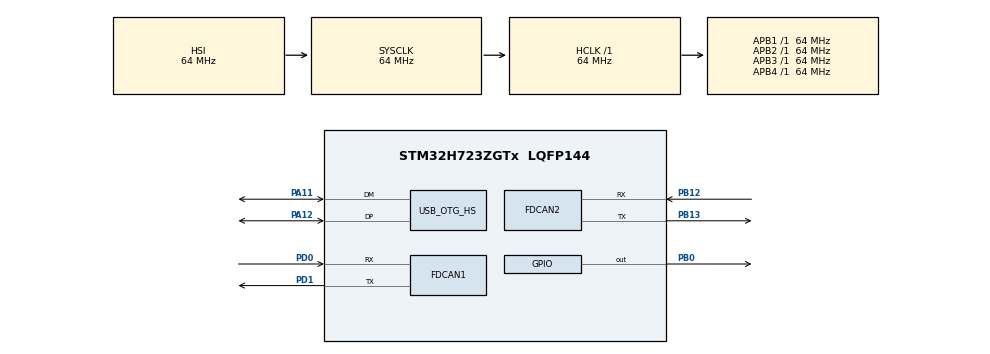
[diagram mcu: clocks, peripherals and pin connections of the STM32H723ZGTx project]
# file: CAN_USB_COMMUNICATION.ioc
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CORTEX_M7.default_mode_Activation=1
FDCAN1.AutoRetransmission=ENABLE
FDCAN1.CalculateBaudRateNominal=1000000
FDCAN1.CalculateTimeBitNominal=1000
FDCAN1.CalculateTimeQuantumNominal=333.3333333333333
FDCAN1.FrameFormat=FDCAN_FRAME_FD_NO_BRS
FDCAN1.Mode=FDCAN_MODE_INTERNAL_LOOPBACK
FDCAN1.RxFifo0ElmtsNbr=1
FDCAN1.TxBuffersNbr=2
FDCAN1.TxFifoQueueElmtsNbr=4
FDCAN2.CalculateBaudRateNominal=1000000
FDCAN2.CalculateTimeBitNominal=1000
FDCAN2.CalculateTimeQuantumNominal=333.3333333333333
FDCAN2.FrameFormat=FDCAN_FRAME_FD_NO_BRS
Mcu.Family=STM32H7
Mcu.Name=STM32H723ZGTx
Mcu.Package=LQFP144
NVIC.OTG_HS_IRQn=true\:0\:0\:false\:false\:true\:false\:true\:true
NVIC.PriorityGroup=NVIC_PRIORITYGROUP_4
PA11.Mode=Device_Only_FS
PA11.Signal=USB_OTG_HS_DM
PA12.Mode=Device_Only_FS
PA12.Signal=USB_OTG_HS_DP
PB0.Signal=GPIO_Output
PB12.Mode=FDCAN_Activate
PB12.Signal=FDCAN2_RX
PB13.Mode=FDCAN_Activate
PB13.Signal=FDCAN2_TX
PD0.Mode=FDCAN_Activate
PD0.Signal=FDCAN1_RX
PD1.Mode=FDCAN_Activate
PD1.Signal=FDCAN1_TX
PH0-OSC_IN.Mode=HSE-External-Oscillator
PH0-OSC_IN.Signal=RCC_OSC_IN
PH1-OSC_OUT.Mode=HSE-External-Oscillator
PH1-OSC_OUT.Signal=RCC_OSC_OUT
ProjectManager.HeapSize=0x200
ProjectManager.StackSize=0x400
ProjectManager.TargetToolchain=STM32CubeIDE
RCC.ADCFreq_Value=50390625
RCC.APB1Freq_Value=64000000
RCC.APB2Freq_Value=64000000
RCC.APB3Freq_Value=64000000
RCC.APB4Freq_Value=64000000
RCC.CortexFreq_Value=64000000
RCC.DIVM1=5
RCC.DIVN1=48
RCC.DIVQ1=5
RCC.HCLKFreq_Value=64000000
RCC.HSE_VALUE=25000000
RCC.PLL2FRACN=0
RCC.PLL3FRACN=0
RCC.PLLFRACN=0
RCC.SYSCLKFreq_VALUE=64000000
RCC.USBFreq_Value=48000000
USB_DEVICE.CLASS_NAME_HS=CDC
USB_DEVICE.PRODUCT_STRING_CDC_HS=CANbeat
USB_DEVICE.VirtualMode=Cdc
USB_DEVICE.VirtualModeHS=Cdc_HS
USB_OTG_HS.VirtualMode-Device_Only_FS=Device_Only_FS
VP_MEMORYMAP_VS_MEMORYMAP.Mode=CurAppReg
VP_USB_DEVICE_VS_USB_DEVICE_CDC_HS.Mode=CDC_HS
board=custom

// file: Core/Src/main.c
/* USER CODE BEGIN Header */
/**
  ******************************************************************************
  * @file           : main.c
  * @brief          : Main program body
  ******************************************************************************
  * @attention
  *
  * Copyright (c) 2025 STMicroelectronics.
  * All rights reserved.
  *
  * This software is licensed under terms that can be found in the LICENSE file
  * in the root directory of this software component.
  * If no LICENSE file comes with this software, it is provided AS-IS.
  *
  ******************************************************************************
  */
/* USER CODE END Header */
#include "main.h"
#include "usb_device.h"

/* USER CODE BEGIN Includes */
#include "usbd_cdc_if.h"
/* USER CODE END Includes */

FDCAN_HandleTypeDef hfdcan1;
FDCAN_HandleTypeDef hfdcan2;

void SystemClock_Config(void);
static void MPU_Config(void);
static void MX_GPIO_Init(void);
static void MX_FDCAN1_Init(void);
static void MX_FDCAN2_Init(void);
/* USER CODE BEGIN PFP */
void Send_CANFD_Message(void);
/* USER CODE END PFP */

int main(void)
{

  /* MPU Configuration--------------------------------------------------------*/
  MPU_Config();

  /* MCU Configuration--------------------------------------------------------*/

  /* Reset of all peripherals, Initializes the Flash interface and the Systick. */
  HAL_Init();

  /* Configure the system clock */
  SystemClock_Config();

  /* Initialize all configured peripherals */
  MX_GPIO_Init();
  MX_FDCAN1_Init();
  MX_FDCAN2_Init();
  MX_USB_DEVICE_Init();

  /* Infinite loop */
  /* USER CODE BEGIN WHILE */
  uint8_t msg[] = "Hello from STM32H723ZG via USB CDC!\r\n";
  while (1)
  {
	  CDC_Transmit_HS(msg, sizeof(msg)-1);
	  HAL_GPIO_TogglePin(GPIOB, GPIO_PIN_0);
	  HAL_Delay(500);  // 500 ms delay
	  Send_CANFD_Message();
    /* USER CODE END WHILE */

  }
}

void SystemClock_Config(void)
{
  RCC_OscInitTypeDef RCC_OscInitStruct = {0};
  RCC_ClkInitTypeDef RCC_ClkInitStruct = {0};

  /** Supply configuration update enable
  */
  HAL_PWREx_ConfigSupply(PWR_LDO_SUPPLY);

  /** Configure the main internal regulator output voltage
  */
  __HAL_PWR_VOLTAGESCALING_CONFIG(PWR_REGULATOR_VOLTAGE_SCALE3);

  while(!__HAL_PWR_GET_FLAG(PWR_FLAG_VOSRDY)) {}

  /** Initializes the RCC Oscillators according to the specified parameters
  * in the RCC_OscInitTypeDef structure.
  */
  RCC_OscInitStruct.OscillatorType = RCC_OSCILLATORTYPE_HSI|RCC_OSCILLATORTYPE_HSE;
  RCC_OscInitStruct.HSEState = RCC_HSE_ON;
  RCC_OscInitStruct.HSIState = RCC_HSI_DIV1;
  RCC_OscInitStruct.HSICalibrationValue = 64;
  RCC_OscInitStruct.PLL.PLLState = RCC_PLL_ON;
  RCC_OscInitStruct.PLL.PLLSource = RCC_PLLSOURCE_HSE;
  RCC_OscInitStruct.PLL.PLLM = 5;
  RCC_OscInitStruct.PLL.PLLN = 48;
  RCC_OscInitStruct.PLL.PLLP = 2;
  RCC_OscInitStruct.PLL.PLLQ = 5;
  RCC_OscInitStruct.PLL.PLLR = 2;
  RCC_OscInitStruct.PLL.PLLRGE = RCC_PLL1VCIRANGE_2;
  RCC_OscInitStruct.PLL.PLLVCOSEL = RCC_PLL1VCOWIDE;
  RCC_OscInitStruct.PLL.PLLFRACN = 0;
  if (HAL_RCC_OscConfig(&RCC_OscInitStruct) != HAL_OK)
  {
    Error_Handler();
  }

  /** Initializes the CPU, AHB and APB buses clocks
  */
  RCC_ClkInitStruct.ClockType = RCC_CLOCKTYPE_HCLK|RCC_CLOCKTYPE_SYSCLK
                              |RCC_CLOCKTYPE_PCLK1|RCC_CLOCKTYPE_PCLK2
                              |RCC_CLOCKTYPE_D3PCLK1|RCC_CLOCKTYPE_D1PCLK1;
  RCC_ClkInitStruct.SYSCLKSource = RCC_SYSCLKSOURCE_HSI;
  RCC_ClkInitStruct.SYSCLKDivider = RCC_SYSCLK_DIV1;
  RCC_ClkInitStruct.AHBCLKDivider = RCC_HCLK_DIV1;
  RCC_ClkInitStruct.APB3CLKDivider = RCC_APB3_DIV1;
  RCC_ClkInitStruct.APB1CLKDivider = RCC_APB1_DIV1;
  RCC_ClkInitStruct.APB2CLKDivider = RCC_APB2_DIV1;
  RCC_ClkInitStruct.APB4CLKDivider = RCC_APB4_DIV1;

  if (HAL_RCC_ClockConfig(&RCC_ClkInitStruct, FLASH_LATENCY_1) != HAL_OK)
  {
    Error_Handler();
  }
}

static void MX_FDCAN1_Init(void)
{

  hfdcan1.Instance = FDCAN1;
  hfdcan1.Init.FrameFormat = FDCAN_FRAME_FD_NO_BRS;
  hfdcan1.Init.Mode = FDCAN_MODE_INTERNAL_LOOPBACK;
  hfdcan1.Init.AutoRetransmission = ENABLE;
  hfdcan1.Init.TransmitPause = DISABLE;
  hfdcan1.Init.ProtocolException = DISABLE;
  hfdcan1.Init.NominalPrescaler = 16;
  hfdcan1.Init.NominalSyncJumpWidth = 1;
  hfdcan1.Init.NominalTimeSeg1 = 1;
  hfdcan1.Init.NominalTimeSeg2 = 1;
  hfdcan1.Init.DataPrescaler = 1;
  hfdcan1.Init.DataSyncJumpWidth = 1;
  hfdcan1.Init.DataTimeSeg1 = 1;
  hfdcan1.Init.DataTimeSeg2 = 1;
  hfdcan1.Init.MessageRAMOffset = 0;
  hfdcan1.Init.StdFiltersNbr = 0;
  hfdcan1.Init.ExtFiltersNbr = 0;
  hfdcan1.Init.RxFifo0ElmtsNbr = 1;
  hfdcan1.Init.RxFifo0ElmtSize = FDCAN_DATA_BYTES_8;
  hfdcan1.Init.RxFifo1ElmtsNbr = 0;
  hfdcan1.Init.RxFifo1ElmtSize = FDCAN_DATA_BYTES_8;
  hfdcan1.Init.RxBuffersNbr = 0;
  hfdcan1.Init.RxBufferSize = FDCAN_DATA_BYTES_8;
  hfdcan1.Init.TxEventsNbr = 0;
  hfdcan1.Init.TxBuffersNbr = 2;
  hfdcan1.Init.TxFifoQueueElmtsNbr = 4;
  hfdcan1.Init.TxFifoQueueMode = FDCAN_TX_FIFO_OPERATION;
  hfdcan1.Init.TxElmtSize = FDCAN_DATA_BYTES_8;
  if (HAL_FDCAN_Init(&hfdcan1) != HAL_OK)
  {
    Error_Handler();
  }
  /* USER CODE BEGIN FDCAN1_Init 2 */
  if (HAL_FDCAN_Start(&hfdcan1)    != HAL_OK) { Error_Handler(); }
  /* USER CODE END FDCAN1_Init 2 */

}

static void MX_FDCAN2_Init(void)
{

  hfdcan2.Instance = FDCAN2;
  hfdcan2.Init.FrameFormat = FDCAN_FRAME_FD_NO_BRS;
  hfdcan2.Init.Mode = FDCAN_MODE_NORMAL;
  hfdcan2.Init.AutoRetransmission = DISABLE;
  hfdcan2.Init.TransmitPause = DISABLE;
  hfdcan2.Init.ProtocolException = DISABLE;
  hfdcan2.Init.NominalPrescaler = 16;
  hfdcan2.Init.NominalSyncJumpWidth = 1;
  hfdcan2.Init.NominalTimeSeg1 = 1;
  hfdcan2.Init.NominalTimeSeg2 = 1;
  hfdcan2.Init.DataPrescaler = 1;
  hfdcan2.Init.DataSyncJumpWidth = 1;
  hfdcan2.Init.DataTimeSeg1 = 1;
  hfdcan2.Init.DataTimeSeg2 = 1;
  hfdcan2.Init.MessageRAMOffset = 0;
  hfdcan2.Init.StdFiltersNbr = 0;
  hfdcan2.Init.ExtFiltersNbr = 0;
  hfdcan2.Init.RxFifo0ElmtsNbr = 0;
  hfdcan2.Init.RxFifo0ElmtSize = FDCAN_DATA_BYTES_8;
  hfdcan2.Init.RxFifo1ElmtsNbr = 0;
  hfdcan2.Init.RxFifo1ElmtSize = FDCAN_DATA_BYTES_8;
  hfdcan2.Init.RxBuffersNbr = 0;
  hfdcan2.Init.RxBufferSize = FDCAN_DATA_BYTES_8;
  hfdcan2.Init.TxEventsNbr = 0;
  hfdcan2.Init.TxBuffersNbr = 0;
  hfdcan2.Init.TxFifoQueueElmtsNbr = 0;
  hfdcan2.Init.TxFifoQueueMode = FDCAN_TX_FIFO_OPERATION;
  hfdcan2.Init.TxElmtSize = FDCAN_DATA_BYTES_8;
  if (HAL_FDCAN_Init(&hfdcan2) != HAL_OK)
  {
    Error_Handler();
  }

}

static void MX_GPIO_Init(void)
{
  GPIO_InitTypeDef GPIO_InitStruct = {0};

  /* GPIO Ports Clock Enable */
  __HAL_RCC_GPIOH_CLK_ENABLE();
  __HAL_RCC_GPIOB_CLK_ENABLE();
  __HAL_RCC_GPIOA_CLK_ENABLE();
  __HAL_RCC_GPIOD_CLK_ENABLE();

  /*Configure GPIO pin Output Level */
  HAL_GPIO_WritePin(GPIOB, GPIO_PIN_0, GPIO_PIN_RESET);

  /*Configure GPIO pin : PB0 */
  GPIO_InitStruct.Pin = GPIO_PIN_0;
  GPIO_InitStruct.Mode = GPIO_MODE_OUTPUT_PP;
  GPIO_InitStruct.Pull = GPIO_NOPULL;
  GPIO_InitStruct.Speed = GPIO_SPEED_FREQ_LOW;
  HAL_GPIO_Init(GPIOB, &GPIO_InitStruct);

}

/* USER CODE BEGIN 4 */
void Send_CANFD_Message(void)
{
  uint8_t txData[8] = {0x11,0x22,0x33,0x44,0x55,0x66,0x77,0x88};
  FDCAN_TxHeaderTypeDef txHeader;
  txHeader.Identifier = 0x123;
  txHeader.IdType = FDCAN_STANDARD_ID;
  txHeader.TxFrameType = FDCAN_DATA_FRAME;
  txHeader.DataLength = FDCAN_DLC_BYTES_8;      // for smaller payload; can be up to 64 bytes in FD
  txHeader.ErrorStateIndicator = FDCAN_ESI_ACTIVE;
  txHeader.BitRateSwitch = FDCAN_BRS_OFF;        // enable switching to faster data phase
  txHeader.FDFormat = FDCAN_FD_CAN;             // FD format
  txHeader.TxEventFifoControl = FDCAN_NO_TX_EVENTS;
  txHeader.MessageMarker = 0;

  if (HAL_FDCAN_AddMessageToTxFifoQ(&hfdcan1, &txHeader, txData) != HAL_OK)
  {
    // Transmission failed
    Error_Handler();
  }
}
/* USER CODE END 4 */

 /* MPU Configuration */

void MPU_Config(void)
{
  MPU_Region_InitTypeDef MPU_InitStruct = {0};

  /* Disables the MPU */
  HAL_MPU_Disable();

  /** Initializes and configures the Region and the memory to be protected
  */
  MPU_InitStruct.Enable = MPU_REGION_ENABLE;
  MPU_InitStruct.Number = MPU_REGION_NUMBER0;
  MPU_InitStruct.BaseAddress = 0x0;
  MPU_InitStruct.Size = MPU_REGION_SIZE_4GB;
  MPU_InitStruct.SubRegionDisable = 0x87;
  MPU_InitStruct.TypeExtField = MPU_TEX_LEVEL0;
  MPU_InitStruct.AccessPermission = MPU_REGION_NO_ACCESS;
  MPU_InitStruct.DisableExec = MPU_INSTRUCTION_ACCESS_DISABLE;
  MPU_InitStruct.IsShareable = MPU_ACCESS_SHAREABLE;
  MPU_InitStruct.IsCacheable = MPU_ACCESS_NOT_CACHEABLE;
  MPU_InitStruct.IsBufferable = MPU_ACCESS_NOT_BUFFERABLE;

  HAL_MPU_ConfigRegion(&MPU_InitStruct);
  /* Enables the MPU */
  HAL_MPU_Enable(MPU_PRIVILEGED_DEFAULT);

}

void Error_Handler(void)
{
  __disable_irq();
  while (1)
  {
  }
}
